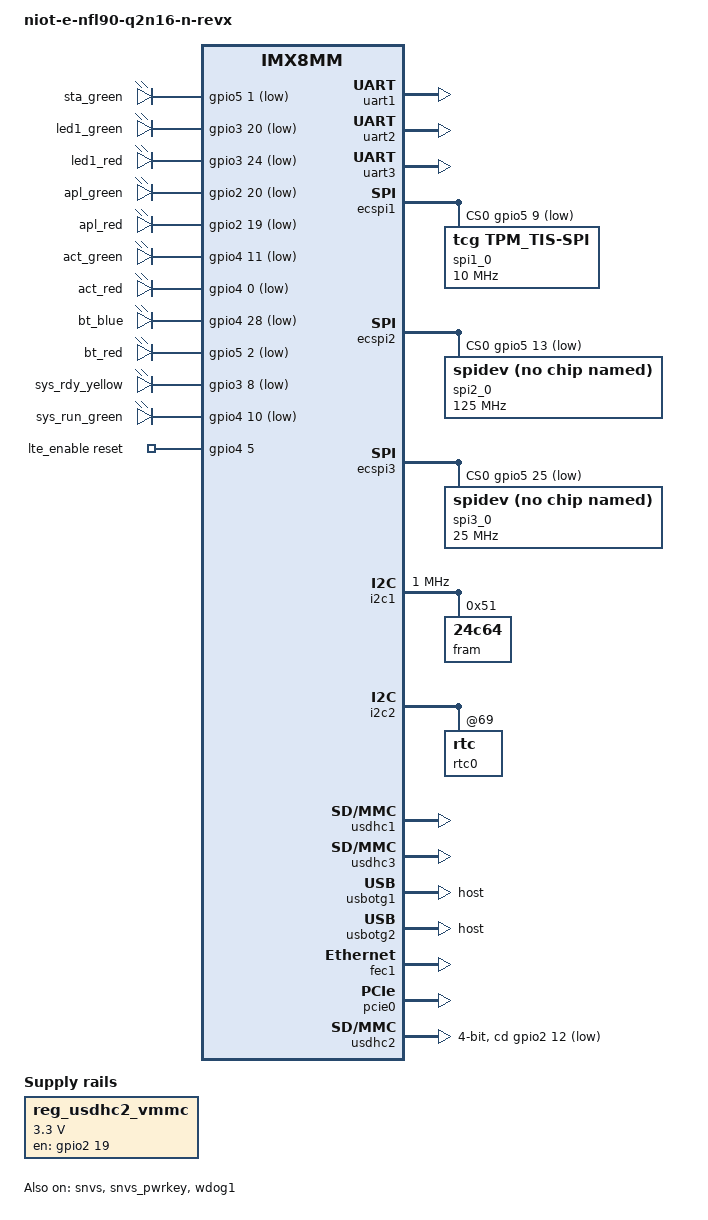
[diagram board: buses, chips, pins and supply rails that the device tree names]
#include "../compulab/ucm-imx8m-mini.dts"
#include "../freescale/imx8mm.dtsi"
#include "../freescale/imx8mm-pinfunc.h"

#include "pad_config.h"

/*
 * The pin function ID is a tuple of
 * <mux_reg conf_reg input_reg mux_mode input_val>
 */
#define MX8MM_IOMUXC_SAI2_RXFS_UART1_DCE_TX          0x1B0 0x418 0x000 0x4 0x0
#define MX8MM_IOMUXC_SAI2_RXC_UART1_DCE_RX           0x1B4 0x41C 0x4f4 0x4 0x3
#define MX8MM_IOMUXC_SAI2_RXD0_UART1_DCE_RTS_B       0x1B8 0x420 0x4f0 0x4 0x2
#define MX8MM_IOMUXC_SAI2_TXFS_UART1_DCE_CTS_B       0x1BC 0x424 0x000 0x4 0x0

#define MX8MM_IOMUXC_SAI3_TXC_UART2_DCE_TX           0x1DC 0x444 0x000 0x4 0x0
#define MX8MM_IOMUXC_SAI3_TXFS_UART2_DCE_RX          0x1D8 0x440 0x4fc 0x4 0x2
#define MX8MM_IOMUXC_SAI3_RXD_UART2_DCE_RTS_B        0x1D4 0x43C 0x4f8 0x4 0x3
#define MX8MM_IOMUXC_SAI3_RXC_UART2_DCE_CTS_B        0x1D0 0x438 0x000 0x4 0x0

/ {
	model = "niot-e-nfl90-q2n16-n-revx";

	aliases {
		ethernet0 = &fec1;
		i2c0 = &i2c1;
		i2c1 = &i2c2;
		i2c2 = &i2c3;
		i2c3 = &i2c4;
		serial0 = &uart1;
		serial1 = &uart2;
		serial2 = &uart3;
		serial3 = &uart4;
		spi0 = &ecspi1;
		spi1 = &ecspi2;
		spi2 = &ecspi3;
		mmc0 = &usdhc2; /* SD-Card */
		mmc1 = &usdhc3; /* eMMC */
		gpio0 = &gpio1;
		gpio1 = &gpio2;
		gpio2 = &gpio3;
		gpio3 = &gpio4;
		gpio4 = &gpio5;
		rtc0 = &rtc0;
		rtc1 = &snvs_rtc;
	};

	config {
		u-boot,system-status-led = "sys_rdy_yellow";
		u-boot,led-test-duration = <1000>;
	};

	device_leds {
		compatible = "gpio-leds";
		pinctrl-names = "default";
		pinctrl-0 = <&pinctrl_gpio_device_led>;

		sta_green {
			label = "sta_green";
			gpios = <&gpio5 1 GPIO_ACTIVE_LOW>;
			linux,default-trigger = "none";
			default-state = "off";
		};
		led1_green {
			label = "led1_green";
			gpios = <&gpio3 20 GPIO_ACTIVE_LOW>;
			linux,default-trigger = "none";
			default-state = "off";
		};
		led1_red {
			label = "led1_red";
			gpios = <&gpio3 24 GPIO_ACTIVE_LOW>;
			linux,default-trigger = "none";
			default-state = "off";
		};
		apl_green {
			label = "apl_green";
			gpios = <&gpio2 20 GPIO_ACTIVE_LOW>;
			linux,default-trigger = "none";
			default-state = "off";
		};
		apl_red {
			label = "apl_red";
			gpios = <&gpio2 19 GPIO_ACTIVE_LOW>;
			linux,default-trigger = "none";
			default-state = "off";
		};
		act_green {
			label = "act_green";
			gpios = <&gpio4 11 GPIO_ACTIVE_LOW>;
			linux,default-trigger = "none";
			default-state = "off";
		};
		act_red {
			label = "act_red";
			gpios = <&gpio4 0 GPIO_ACTIVE_LOW>;
			linux,default-trigger = "none";
			default-state = "off";
		};
		bt_blue:bt_blue {
			label = "bt_blue";
			gpios = <&gpio4 28 GPIO_ACTIVE_LOW>;
			linux,default-trigger = "none";
			default-state = "off";
		};
		bt_red:bt_red {
			label = "bt_red";
			gpios = <&gpio5 2 GPIO_ACTIVE_LOW>;
			linux,default-trigger = "none";
			default-state = "off";
		};
		sys_rdy_yellow {
			label = "sys_rdy_yellow";
			gpios = <&gpio3 8 GPIO_ACTIVE_LOW>;
			linux,default-trigger = "heartbeat";
			default-state = "off";
		};
		sys_run_green {
			label = "sys_run_green";
			gpios = <&gpio4 10 GPIO_ACTIVE_LOW>;
			linux,default-trigger = "none";
			default-state = "off";
		};
	};

	wlreg_on: wlregon-regulator {
		status = "okay";
		gpio = <&gpio2 10 GPIO_ACTIVE_HIGH>; // SOM internal
	};

	regulator-usdhc3rst {
		status = "okay";
		gpio = <&gpio3 16 GPIO_ACTIVE_HIGH>; // SOM internal
	};

	regulator-fec1rst {
		status = "disabled";
		gpio = <&gpio1 10 GPIO_ACTIVE_HIGH>; // USB1_ID
	};

	usdhc1_pwrseq: usdhc1_pwrseq {
		// NOTE: The compulab devicetree are faulty related to the node names. Fix these for usage!
		status = "okay";
		reset-gpios = <&gpio2 10 GPIO_ACTIVE_LOW>; // SOM internal
	};

	backlight {
		status = "disabled";
	};

	lte_enable {
		status = "okay";
		compatible = "rfkill-gpio";
		reset-gpio = <&gpio4 5 GPIO_ACTIVE_HIGH>;
		name = "lte_enable";
		type = "wwan";
	};
};

&iomuxc {
	pinctrl-names = "default";
	pinctrl-0 = <&pinctrl_hog_1>;

	ucm-imx8m-mini {
		pinctrl_gpio_device_led: gpiodeviceledgrp {
			fsl,pins = <
				MX8MM_IOMUXC_SAI3_TXD_GPIO5_IO1      (PU|OD|DSEx6)
				MX8MM_IOMUXC_SAI5_RXC_GPIO3_IO20     (PU|OD|DSEx6)
				MX8MM_IOMUXC_SAI5_RXD3_GPIO3_IO24    (PU|OD|DSEx6)
				MX8MM_IOMUXC_SD2_WP_GPIO2_IO20       (PU|OD|DSEx6)
				MX8MM_IOMUXC_SD2_RESET_B_GPIO2_IO19  (PU|OD|DSEx6)
				MX8MM_IOMUXC_SAI1_TXC_GPIO4_IO11     (PU|OD|DSEx6)
				MX8MM_IOMUXC_SAI1_RXFS_GPIO4_IO0     (PU|OD|DSEx6)
				MX8MM_IOMUXC_SAI3_RXFS_GPIO4_IO28    (PU|OD|DSEx6)
				MX8MM_IOMUXC_SAI3_MCLK_GPIO5_IO2     (PU|OD|DSEx6)
				MX8MM_IOMUXC_NAND_DATA02_GPIO3_IO8   (PU|OD|DSEx6)
				MX8MM_IOMUXC_SAI1_TXFS_GPIO4_IO10    (PU|OD|DSEx6)
			>;
		};

		pinctrl_gpio1: gpio1grp {
			fsl,pins = <
				MX8MM_IOMUXC_GPIO1_IO05_GPIO1_IO5   (PD|IS) // IN0
				MX8MM_IOMUXC_GPIO1_IO11_GPIO1_IO11  (PD|IS) // PGOOD_3V3
				MX8MM_IOMUXC_GPIO1_IO06_GPIO1_IO6   (PD|IS) // PGOOD_5V
				MX8MM_IOMUXC_GPIO1_IO01_GPIO1_IO1   (PD|IS) // SIM_SW2
				MX8MM_IOMUXC_GPIO1_IO08_GPIO1_IO8   (PD|IS) // TPM_IRQ#
				MX8MM_IOMUXC_GPIO1_IO13_GPIO1_IO13  (PU|IS) // TPM_GPIO
			>;
		};

//		pinctrl_gpio2: gpio2grp {
//			fsl,pins = <
//				// empty
//			>;
//		};

		pinctrl_gpio3: gpio3grp {
			fsl,pins = <
				MX8MM_IOMUXC_NAND_DATA01_GPIO3_IO7  (PU|OD|DSEx1) // SEL_RS/WF#
				MX8MM_IOMUXC_NAND_DATA03_GPIO3_IO9  (PD|IS)       // SPI3_INT#
			>;
		};

		pinctrl_gpio4: gpio4grp {
			fsl,pins = <
				MX8MM_IOMUXC_SAI1_RXD3_GPIO4_IO5   (PU|OD|DSEx1) // LTE_RESET#
				MX8MM_IOMUXC_SAI1_MCLK_GPIO4_IO20  (PU|OD|DSEx1) // LTE_FLIGHTMODE#
			>;
		};

		pinctrl_gpio5: gpio5grp {
			fsl,pins = <
				MX8MM_IOMUXC_I2C3_SDA_GPIO5_IO19   (PD|IS)    // IN1
				MX8MM_IOMUXC_I2C4_SDA_GPIO5_IO21   (PD|DSEx1) // OUT0
			>;
		};

		pinctrl_uart1: uart1grp {
			fsl,pins = <
				MX8MM_IOMUXC_SAI2_RXFS_UART1_DCE_TX     (PU|FSR|DSEx1)
				MX8MM_IOMUXC_SAI2_RXC_UART1_DCE_RX      (PU|FSR|DSEx1)
				MX8MM_IOMUXC_SAI2_RXD0_UART1_DCE_RTS_B  (PU|FSR|DSEx1)
				MX8MM_IOMUXC_SAI2_TXFS_UART1_DCE_CTS_B  (PU|FSR|DSEx1)
			>;
		};

		pinctrl_uart2: uart2grp {
			fsl,pins = <
				MX8MM_IOMUXC_SAI3_TXC_UART2_DCE_TX      (PU|FSR|DSEx1)
				MX8MM_IOMUXC_SAI3_TXFS_UART2_DCE_RX     (PU|FSR|DSEx1)
				MX8MM_IOMUXC_SAI3_RXD_UART2_DCE_RTS_B   (PU|FSR|DSEx1)
				MX8MM_IOMUXC_SAI3_RXC_UART2_DCE_CTS_B   (PU|FSR|DSEx1)
			>;
		};

		pinctrl_uart3: uart3grp {
			fsl,pins = <
				MX8MM_IOMUXC_UART3_RXD_UART3_DCE_RX     (PU|FSR|DSEx1)
				MX8MM_IOMUXC_UART3_TXD_UART3_DCE_TX     (PU|FSR|DSEx1)
			>;
		};

		pinctrl_ecspi1: ecspi1grp {
			fsl,pins = <
				MX8MM_IOMUXC_ECSPI1_SCLK_ECSPI1_SCLK  (PU|FSR|DSEx1)
				MX8MM_IOMUXC_ECSPI1_MOSI_ECSPI1_MOSI  (PU|FSR|DSEx1)
				MX8MM_IOMUXC_ECSPI1_MISO_ECSPI1_MISO  (PU|FSR|DSEx1)
				MX8MM_IOMUXC_ECSPI1_SS0_GPIO5_IO9     (PU|FSR|DSEx1)
			>;
		};

		pinctrl_ecspi2: ecspi2grp {
			fsl,pins = <
				MX8MM_IOMUXC_ECSPI2_SCLK_ECSPI2_SCLK  (PU|FSR|DSEx1)
				MX8MM_IOMUXC_ECSPI2_MOSI_ECSPI2_MOSI  (PU|FSR|DSEx1)
				MX8MM_IOMUXC_ECSPI2_MISO_ECSPI2_MISO  (PU|FSR|DSEx1)
				MX8MM_IOMUXC_ECSPI2_SS0_GPIO5_IO13    (PU|FSR|DSEx1)
			>;
		};

		pinctrl_ecspi3: ecspi3grp {
			fsl,pins = <
				MX8MM_IOMUXC_UART1_RXD_ECSPI3_SCLK    (PU|FSR|DSEx1)
				MX8MM_IOMUXC_UART1_TXD_ECSPI3_MOSI    (PU|FSR|DSEx1)
				MX8MM_IOMUXC_UART2_RXD_ECSPI3_MISO    (PU|FSR|DSEx1)
				MX8MM_IOMUXC_UART2_TXD_GPIO5_IO25     (PU|FSR|DSEx1)
			>;
		};

		pinctrl_i2c1: i2c1grp {
			fsl,pins = <
				MX8MM_IOMUXC_I2C1_SCL_I2C1_SCL                  0x400001c3
				MX8MM_IOMUXC_I2C1_SDA_I2C1_SDA                  0x400001c3
			>;
		};
	};
};

&gpio1 {
	status = "okay";
	pinctrl-names = "default";
	pinctrl-0 = <&pinctrl_gpio1>;
	gpio-line-names =
		"N/C", "SIM_SW2", "N/C", "N/C", "N/C", "IN0", "PGOOD_5V", "N/C", "TPM_IRQ#", "N/C",
		"N/C", "PGOOD_3V3", "N/C", "TPM_GPIO", "N/C", "N/C", "N/C", "N/C", "N/C", "N/C",
		"N/C", "N/C", "N/C", "N/C", "N/C", "N/C", "N/C", "N/C", "N/C", "N/C",
		"N/C", "N/C";
};

&gpio2 {
	status = "okay";
	pinctrl-names = "default";
//	pinctrl-0 = <&pinctrl_gpio2>;
	gpio-line-names =
		"N/C", "N/C", "N/C", "N/C", "N/C", "N/C", "N/C", "N/C", "N/C", "N/C",
		"N/C", "N/C", "N/C", "N/C", "N/C", "N/C", "N/C", "N/C", "N/C", "led-apl-red",
		"led-apl-green", "N/C", "N/C", "N/C", "N/C", "N/C", "N/C", "N/C", "N/C", "N/C",
		"N/C", "N/C";
};

&gpio3 {
	status = "okay";
	pinctrl-names = "default";
	pinctrl-0 = <&pinctrl_gpio3>;
	gpio-line-names =
		"N/C", "N/C", "N/C", "N/C", "N/C", "N/C", "N/C", "SEL_RS/WF#", "led-sys-rdy-yellow", "SPI3_INT#",
		"N/C", "N/C", "N/C", "N/C", "N/C", "N/C", "N/C", "N/C", "N/C", "N/C",
		"led-led1-green", "N/C", "N/C", "N/C", "led-led1-red", "N/C", "N/C", "N/C", "N/C", "N/C",
		"N/C", "N/C";
};

&gpio4 {
	status = "okay";
	pinctrl-names = "default";
	pinctrl-0 = <&pinctrl_gpio4>;
	gpio-line-names =
		"led-act-red", "N/C", "N/C", "N/C", "N/C", "LTE_RESET#", "N/C", "N/C", "N/C", "N/C",
		"led-sys-run-green", "led-act-green", "N/C", "N/C", "N/C", "N/C", "N/C", "N/C", "N/C", "N/C",
		"LTE_FLIGHTMODE#", "N/C", "N/C", "N/C", "N/C", "N/C", "N/C", "N/C", "led-bt-blue", "N/C",
		"N/C", "N/C";
};

&gpio5 {
	status = "okay";
	pinctrl-names = "default";
	pinctrl-0 = <&pinctrl_gpio5>;
	gpio-line-names =
		"N/C", "led-sta-green", "led-bt-red", "N/C", "N/C", "N/C", "N/C", "N/C", "N/C", "N/C",
		"N/C", "N/C", "N/C", "N/C", "N/C", "N/C", "N/C", "N/C", "N/C", "IN1",
		"N/C", "OUT0", "N/C", "N/C", "N/C", "N/C", "N/C", "N/C", "N/C", "N/C",
		"N/C", "N/C";
};

&uart1 { /* RS232 */
	status = "okay";
};

&uart2 { /* RS485 */
	status = "okay";
};

&uart3 { /* console for development only! */
	status = "okay";
};

&uart4 {
	status = "disabled";
};

&ecspi1 { /* TPM */
	status = "okay";
	pinctrl-names = "default";
	pinctrl-0 = <&pinctrl_ecspi1>;
	num-cs = <1>;

	cs-gpios = <
		&gpio5 9 GPIO_ACTIVE_LOW
	>;

	spi1_0: tpm@0 {
		compatible = "tcg,tpm_tis-spi", "infineon,slb9670";
		reg = <0>;
		spi-max-frequency = <10000000>;
	};
};

&ecspi2 { /* netX90 */
	status = "okay";
	pinctrl-names = "default";
	pinctrl-0 = <&pinctrl_ecspi2>;
	num-cs = <1>;

	cs-gpios = <
		&gpio5 13 GPIO_ACTIVE_LOW
	>;

	spi2_0: netx90_spm@0 {
		compatible = "spidev";
		reg = <0>;
		spi-max-frequency = <125000000>;
	};
};

&ecspi3 { /* CAN */
	status = "okay";
	pinctrl-names = "default";
	pinctrl-0 = <&pinctrl_ecspi3>;
	num-cs = <1>;

	cs-gpios = <
		&gpio5 25 GPIO_ACTIVE_LOW
	>;

	spi3_0: can@0 {
// 		compatible = "microchip,mcp2515";
		compatible = "spidev";
		reg = <0>;
		spi-max-frequency = <25000000>;
	};
};

&i2c1 {
	status = "okay";
	pinctrl-names = "default";
	pinctrl-0 = <&pinctrl_i2c1>;

	clock-frequency = <1000000>;

	fram@51 {
		compatible = "24c64";
		reg = <0x51>;
		pagesize = <1024>;
	};
};

&i2c2 { /* SOM: PMIC, RTC, EEprom*/
	status = "okay";

	rtc0: rtc@69 {
	};
};

&i2c3 {
	status = "disabled";
};

&i2c4 {
	status = "disabled";
};

&usdhc1 { /* SOM: WLAN/Bluetooth */
	status = "okay";
};

&usdhc3 { /* SOM: MMC */
	status = "okay";
};

&usbotg1 {
	status = "okay";
	dr_mode = "host";
};

&usbotg2 { /* internal connected to LAN9514I-JZX - USB 2.0 Hub and 10/100 Ethernet Controller */
	status = "okay";
	dr_mode = "host";
};

&fec1 {
	status = "okay";
};

&ethphy0 {
	/delete-property/ at803x,eee-okay;
	at803x,eee-disabled;
};

&snvs {
	status = "okay";
};

&snvs_pwrkey {
	status = "okay";
};

&wdog1 {
	status = "okay";
};

&pcie0 {
	status = "okay";
};

&sai1 {
	status = "disabled";
};

&sai2 {
	status = "disabled";
};

&sai3 {
	status = "disabled";
};

/* NOTE: sai4 is not defined by imx8mm.dtsi */
// &sai4 {
// 	status = "disabled";
// };

&sai5 {
	status = "disabled";
};

&sai6 {
	status = "disabled";
};

&lcdif {
	status = "disabled";
};

&pwm2 {
	status = "disabled";
};

&gpu {
	status = "disabled";
};

&vpu_g1 {
	status = "disabled";
};

&vpu_g2 {
	status = "disabled";
};

&vpu_h1 {
	status = "disabled";
};

&usdhc2 {
	pinctrl-names = "default", "state_100mhz", "state_200mhz";
	pinctrl-0 = <&pinctrl_usdhc2>, <&pinctrl_usdhc2_gpio>;
	pinctrl-1 = <&pinctrl_usdhc2_100mhz>, <&pinctrl_usdhc2_gpio>;
	pinctrl-2 = <&pinctrl_usdhc2_200mhz>, <&pinctrl_usdhc2_gpio>;
	cd-gpios = <&gpio2 12 GPIO_ACTIVE_LOW>;
	//wp-gpios = <&gpio2 20 GPIO_ACTIVE_HIGH>;
	no-1-8-v;
	bus-width = <4>;
	//vmmc-supply = <&reg_usdhc2_vmmc>;
	status = "okay";
};


/ {
	reg_usdhc2_vmmc: regulator-usdhc2 {
		compatible = "regulator-fixed";
		regulator-name = "VSD_3V3";
		regulator-min-microvolt = <3300000>;
		regulator-max-microvolt = <3300000>;
		gpio = <&gpio2 19 GPIO_ACTIVE_HIGH>;
		enable-active-high;
		startup-delay-us = <100>;
		off-on-delay-us = <12000>;
	};
};

&iomuxc {
	pinctrl-names = "default";
	pinctrl-0 = <&pinctrl_hog_1>;

	ucm-imx8m-mini {
		pinctrl_usdhc2_gpio: usdhc2grpgpio {
			fsl,pins = <
				//MX8MM_IOMUXC_SD2_RESET_B_GPIO2_IO19     0x41
				MX8MM_IOMUXC_SD2_CD_B_GPIO2_IO12          (IS) // an external pulldown exists (orig: 0x41)
				//MX8MM_IOMUXC_SD2_WP_GPIO2_IO20          0x00
			>;
		};

		pinctrl_usdhc2: usdhc2grp {
			fsl,pins = <
				MX8MM_IOMUXC_SD2_CLK_USDHC2_CLK         0x190
				MX8MM_IOMUXC_SD2_CMD_USDHC2_CMD         0x1d0
				MX8MM_IOMUXC_SD2_DATA0_USDHC2_DATA0     0x1d0
				MX8MM_IOMUXC_SD2_DATA1_USDHC2_DATA1     0x1d0
				MX8MM_IOMUXC_SD2_DATA2_USDHC2_DATA2     0x1d0
				MX8MM_IOMUXC_SD2_DATA3_USDHC2_DATA3     0x1d0
				MX8MM_IOMUXC_GPIO1_IO04_USDHC2_VSELECT  0x1d0
			>;
		};

		pinctrl_usdhc2_100mhz: usdhc2grp100mhz {
			fsl,pins = <
				MX8MM_IOMUXC_SD2_CLK_USDHC2_CLK         0x194
				MX8MM_IOMUXC_SD2_CMD_USDHC2_CMD         0x1d4
				MX8MM_IOMUXC_SD2_DATA0_USDHC2_DATA0     0x1d4
				MX8MM_IOMUXC_SD2_DATA1_USDHC2_DATA1     0x1d4
				MX8MM_IOMUXC_SD2_DATA2_USDHC2_DATA2     0x1d4
				MX8MM_IOMUXC_SD2_DATA3_USDHC2_DATA3     0x1d4
				MX8MM_IOMUXC_GPIO1_IO04_USDHC2_VSELECT  0x1d0
			>;
		};

		pinctrl_usdhc2_200mhz: usdhc2grp200mhz {
			fsl,pins = <
				MX8MM_IOMUXC_SD2_CLK_USDHC2_CLK         0x196
				MX8MM_IOMUXC_SD2_CMD_USDHC2_CMD         0x1d6
				MX8MM_IOMUXC_SD2_DATA0_USDHC2_DATA0     0x1d6
				MX8MM_IOMUXC_SD2_DATA1_USDHC2_DATA1     0x1d6
				MX8MM_IOMUXC_SD2_DATA2_USDHC2_DATA2     0x1d6
				MX8MM_IOMUXC_SD2_DATA3_USDHC2_DATA3     0x1d6
				MX8MM_IOMUXC_GPIO1_IO04_USDHC2_VSELECT  0x1d0
			>;
		};
	};
};
